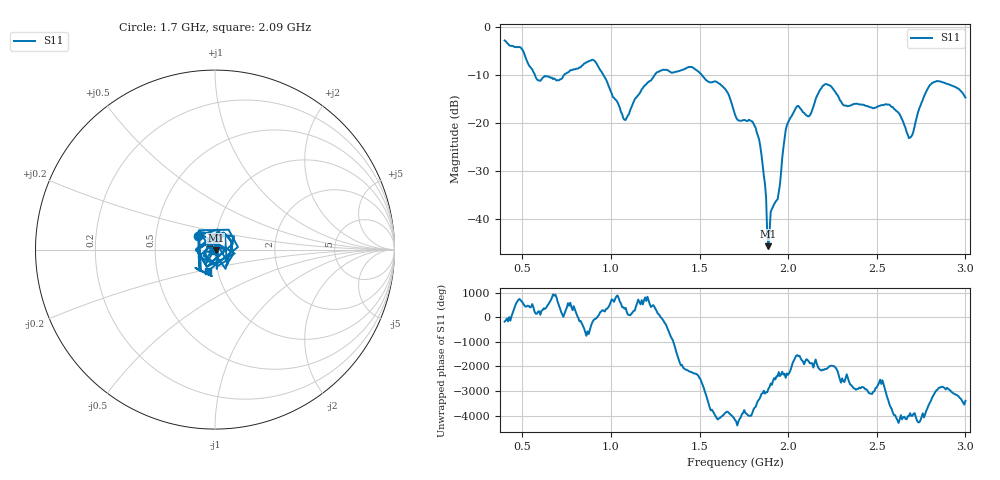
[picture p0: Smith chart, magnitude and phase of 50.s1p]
!Created with skrf (http://scikit-rf.org).
# Hz S RI R 50.0
!freq ReS11 ImS11
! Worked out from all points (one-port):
!   401 points, 400 MHz to 3 GHz, reference 50 ohm
!   lowest |S11| = -45.7 dB at 1.889 GHz (marker M1), VSWR 1.01, Z = 50.5 - j0.262 ohm
!   |S11| at or under -10 dB: 570.2 MHz to 737.1 MHz (166.8 MHz wide, 25.5 % of centre); 955.8 MHz to 1.249 GHz (292.7 MHz wide, 26.6 % of centre); 1.511 GHz to end of sweep
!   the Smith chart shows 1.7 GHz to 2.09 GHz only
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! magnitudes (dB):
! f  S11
! 400 MHz  -2.9
! 497.5 MHz  -4.7
! 588.5 MHz  -11.2
! 725 MHz  -10.8
! 900.5 MHz  -7.0
! 1.05 GHz  -16.9
! 1.083 GHz  -19.4
! 1.258 GHz  -9.6
! 1.375 GHz  -9.4
! 1.453 GHz  -8.4
! 1.615 GHz  -11.9
! 1.7 GHz  -18.3
! 1.823 GHz  -22.1
! 1.856 GHz  -28.8
! 1.889 GHz  -45.7
! 1.94 GHz  -35.9
! 1.986 GHz  -21.6
! 2.025 GHz  -18.2
! 2.058 GHz  -16.5
! 2.116 GHz  -18.7
! 2.213 GHz  -12.0
! 2.35 GHz  -16.4
! 2.578 GHz  -16.5
! 2.675 GHz  -22.5
! 2.695 GHz  -22.9
! 2.753 GHz  -15.8
! 2.812 GHz  -11.8
! 3 GHz  -14.8
